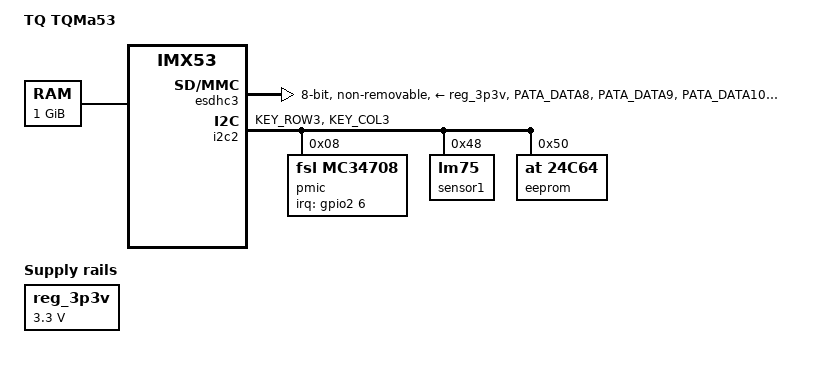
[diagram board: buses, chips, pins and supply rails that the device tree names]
/*
 * Copyright 2012 Sascha Hauer <s.hauer@pengutronix.de>, Pengutronix
 * Copyright 2012 Steffen Trumtrar <s.trumtrar@pengutronix.de>, Pengutronix
 *
 * The code contained herein is licensed under the GNU General Public
 * License. You may obtain a copy of the GNU General Public License
 * Version 2 or later at the following locations:
 *
 * http://www.opensource.org/licenses/gpl-license.html
 * http://www.gnu.org/copyleft/gpl.html
 */

#include "imx53.dtsi"

/ {
	model = "TQ TQMa53";
	compatible = "tq,tqma53", "fsl,imx53";

	memory {
		reg = <0x70000000 0x40000000>; /* Up to 1GiB */
	};

	regulators {
		compatible = "simple-bus";
		#address-cells = <1>;
		#size-cells = <0>;

		reg_3p3v: regulator@0 {
			compatible = "regulator-fixed";
			reg = <0>;
			regulator-name = "3P3V";
			regulator-min-microvolt = <3300000>;
			regulator-max-microvolt = <3300000>;
			regulator-always-on;
		};
	};
};

&esdhc3 { /* EMMC */
	pinctrl-names = "default";
	pinctrl-0 = <&pinctrl_esdhc3>;
	vmmc-supply = <&reg_3p3v>;
	non-removable;
	bus-width = <8>;
	status = "okay";
};

&iomuxc {
	imx53-tqma53 {
		pinctrl_esdhc3: esdhc3grp {
			fsl,pins = <
				MX53_PAD_PATA_DATA8__ESDHC3_DAT0	0x1d2
				MX53_PAD_PATA_DATA9__ESDHC3_DAT1	0x1d2
				MX53_PAD_PATA_DATA10__ESDHC3_DAT2	0x1d2
				MX53_PAD_PATA_DATA11__ESDHC3_DAT3	0x1d2
				MX53_PAD_PATA_DATA0__ESDHC3_DAT4	0x1d2
				MX53_PAD_PATA_DATA1__ESDHC3_DAT5	0x1d2
				MX53_PAD_PATA_DATA2__ESDHC3_DAT6	0x1d2
				MX53_PAD_PATA_DATA3__ESDHC3_DAT7	0x1d2
				MX53_PAD_PATA_RESET_B__ESDHC3_CMD	0x1f2
				MX53_PAD_PATA_IORDY__ESDHC3_CLK		0x1d2
			>;
		};

		pinctrl_i2c2: i2c2grp {
			fsl,pins = <
				MX53_PAD_KEY_ROW3__I2C2_SDA		0xc0000000
				MX53_PAD_KEY_COL3__I2C2_SCL		0xc0000000
			>;
		};

		pinctrl_i2c3: i2c3grp {
			fsl,pins = <
				MX53_PAD_GPIO_6__I2C3_SDA		0xc0000000
				MX53_PAD_GPIO_5__I2C3_SCL		0xc0000000
			>;
		};

		pinctrl_pmic: pmicgrp {
			fsl,pins = <
				 MX53_PAD_PATA_DATA6__GPIO2_6    0x80000000 /* PMIC_INT */
				 MX53_PAD_GPIO_19__GPIO4_5 	 0x80000000 /* #SYSTEM_DOWN */
			>;
		};

		pinctrl_uart1: uart1grp {
			fsl,pins = <
				MX53_PAD_PATA_DIOW__UART1_TXD_MUX	0x1e4
				MX53_PAD_PATA_DMACK__UART1_RXD_MUX	0x1e4
			>;
		};

		pinctrl_uart2: uart2grp {
			fsl,pins = <
				MX53_PAD_PATA_BUFFER_EN__UART2_RXD_MUX	0x1e4
				MX53_PAD_PATA_DMARQ__UART2_TXD_MUX	0x1e4
			>;
		};
	};
};

&uart1 {
	pinctrl-names = "default";
	pinctrl-0 = <&pinctrl_uart1>;
	status = "disabled";
};

&uart2 {
	pinctrl-names = "default";
	pinctrl-0 = <&pinctrl_uart2>;
	status = "disabled";
};

&i2c3 {
	pinctrl-names = "default";
	pinctrl-0 = <&pinctrl_i2c3>;
	status = "disabled";
};

&i2c2 {
	pinctrl-names = "default";
	pinctrl-0 = <&pinctrl_i2c2>;
	status = "okay";

	pmic: mc34708@8 {
		compatible = "fsl,mc34708";
		reg = <0x8>;
		pinctrl-names = "default";
		pinctrl-0 = <&pinctrl_pmic>;
		fsl,mc13xxx-uses-rtc;
		interrupt-parent = <&gpio2>;
		interrupts = <6 4>; /* PATA_DATA6, active high */
	};

	sensor1: lm75@48 {
		compatible = "lm75";
		reg = <0x48>;
	};

	eeprom: 24c64@50 {
		compatible = "at,24c64";
		pagesize = <32>;
		reg = <0x50>;
	};
};
